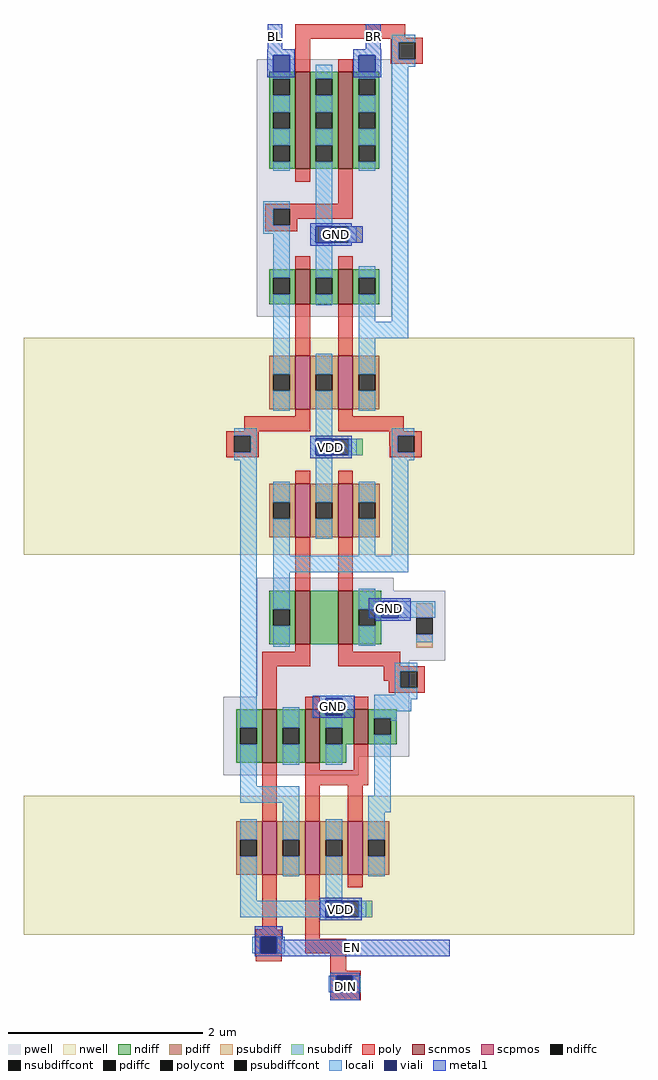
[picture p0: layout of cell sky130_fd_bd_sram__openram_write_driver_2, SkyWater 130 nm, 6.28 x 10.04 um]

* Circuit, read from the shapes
.subckt sky130_fd_bd_sram__openram_write_driver_2 BL BR DIN EN GND VDD din bl br en vdd gnd
XM1 n1 EN n2 GND sky130_fd_pr__nfet_01v8 w=0.55 l=0.15
XM2 n3 EN n4 GND sky130_fd_pr__nfet_01v8 w=0.55 l=0.15
XM3 GND n2 n5 GND sky130_fd_pr__nfet_01v8 w=0.36 l=0.15
XM4 GND n6 BL GND sky130_fd_pr__nfet_01v8 w=1 l=0.15
XM5 GND DIN n1 GND sky130_fd_pr__nfet_01v8 w=0.55 l=0.15
XM6 GND n7 n3 GND sky130_fd_pr__nfet_01v8 w=0.55 l=0.15
XM7 n6 n4 GND GND sky130_fd_pr__nfet_01v8 w=0.36 l=0.15
XM8 BR n5 GND GND sky130_fd_pr__nfet_01v8 w=1 l=0.15
XM9 n7 DIN GND GND sky130_fd_pr__nfet_01v8 w=0.36 l=0.15
XM10 n2 EN VDD VDD sky130_fd_pr__pfet_01v8 w=0.55 l=0.15
XM11 VDD EN n4 VDD sky130_fd_pr__pfet_01v8 w=0.55 l=0.15
XM12 VDD n2 n5 VDD sky130_fd_pr__pfet_01v8 w=0.55 l=0.15
XM13 VDD DIN n2 VDD sky130_fd_pr__pfet_01v8 w=0.55 l=0.15
XM14 n4 n7 VDD VDD sky130_fd_pr__pfet_01v8 w=0.55 l=0.15
XM15 n6 n4 VDD VDD sky130_fd_pr__pfet_01v8 w=0.55 l=0.15
XM16 n7 DIN VDD VDD sky130_fd_pr__pfet_01v8 w=0.55 l=0.15
.ends

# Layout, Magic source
magic
tech sky130A
magscale 1 2
<< nwell >>
rect -376 920 880 1366
rect -376 138 880 424
<< pwell >>
rect 103 1409 381 1939
rect 103 846 385 872
rect 103 702 491 846
rect 103 628 417 702
rect 35 504 417 628
rect 35 466 313 504
<< scnmos >>
rect 183 1713 213 1913
rect 271 1713 301 1913
rect 183 1435 213 1507
rect 271 1435 301 1507
rect 183 736 213 846
rect 271 736 301 846
rect 115 492 145 602
rect 203 492 233 602
rect 303 530 333 602
<< scpmos >>
rect 183 1219 213 1329
rect 271 1219 301 1329
rect 183 956 213 1066
rect 271 956 301 1066
rect 115 262 145 372
rect 203 262 233 372
rect 291 262 321 372
<< ndiff >>
rect 129 1898 183 1913
rect 129 1864 137 1898
rect 171 1864 183 1898
rect 129 1830 183 1864
rect 129 1796 137 1830
rect 171 1796 183 1830
rect 129 1762 183 1796
rect 129 1728 137 1762
rect 171 1728 183 1762
rect 129 1713 183 1728
rect 213 1898 271 1913
rect 213 1864 225 1898
rect 259 1864 271 1898
rect 213 1830 271 1864
rect 213 1796 225 1830
rect 259 1796 271 1830
rect 213 1762 271 1796
rect 213 1728 225 1762
rect 259 1728 271 1762
rect 213 1713 271 1728
rect 301 1898 355 1913
rect 301 1864 313 1898
rect 347 1864 355 1898
rect 301 1830 355 1864
rect 301 1796 313 1830
rect 347 1796 355 1830
rect 301 1762 355 1796
rect 301 1728 313 1762
rect 347 1728 355 1762
rect 301 1713 355 1728
rect 129 1489 183 1507
rect 129 1455 137 1489
rect 171 1455 183 1489
rect 129 1435 183 1455
rect 213 1489 271 1507
rect 213 1455 225 1489
rect 259 1455 271 1489
rect 213 1435 271 1455
rect 301 1489 355 1507
rect 301 1455 313 1489
rect 347 1455 355 1489
rect 301 1435 355 1455
rect 129 808 183 846
rect 129 774 137 808
rect 171 774 183 808
rect 129 736 183 774
rect 213 736 271 846
rect 301 808 359 846
rect 301 774 313 808
rect 347 774 359 808
rect 301 736 359 774
rect 61 564 115 602
rect 61 530 69 564
rect 103 530 115 564
rect 61 492 115 530
rect 145 564 203 602
rect 145 530 157 564
rect 191 530 203 564
rect 145 492 203 530
rect 233 564 303 602
rect 233 530 245 564
rect 279 530 303 564
rect 333 583 391 602
rect 333 549 345 583
rect 379 549 391 583
rect 333 530 391 549
rect 233 492 287 530
<< pdiff >>
rect 129 1291 183 1329
rect 129 1257 137 1291
rect 171 1257 183 1291
rect 129 1219 183 1257
rect 213 1291 271 1329
rect 213 1257 225 1291
rect 259 1257 271 1291
rect 213 1219 271 1257
rect 301 1291 355 1329
rect 301 1257 313 1291
rect 347 1257 355 1291
rect 301 1219 355 1257
rect 129 1028 183 1066
rect 129 994 137 1028
rect 171 994 183 1028
rect 129 956 183 994
rect 213 1028 271 1066
rect 213 994 225 1028
rect 259 994 271 1028
rect 213 956 271 994
rect 301 1028 356 1066
rect 301 994 313 1028
rect 347 994 356 1028
rect 301 956 356 994
rect 61 334 115 372
rect 61 300 69 334
rect 103 300 115 334
rect 61 262 115 300
rect 145 334 203 372
rect 145 300 157 334
rect 191 300 203 334
rect 145 262 203 300
rect 233 334 291 372
rect 233 300 245 334
rect 279 300 291 334
rect 233 262 291 300
rect 321 334 376 372
rect 321 300 333 334
rect 367 300 376 334
rect 321 262 376 300
<< ndiffc >>
rect 137 1864 171 1898
rect 137 1796 171 1830
rect 137 1728 171 1762
rect 225 1864 259 1898
rect 225 1796 259 1830
rect 225 1728 259 1762
rect 313 1864 347 1898
rect 313 1796 347 1830
rect 313 1728 347 1762
rect 137 1455 171 1489
rect 225 1455 259 1489
rect 313 1455 347 1489
rect 137 774 171 808
rect 313 774 347 808
rect 69 530 103 564
rect 157 530 191 564
rect 245 530 279 564
rect 345 549 379 583
<< pdiffc >>
rect 137 1257 171 1291
rect 225 1257 259 1291
rect 313 1257 347 1291
rect 137 994 171 1028
rect 225 994 259 1028
rect 313 994 347 1028
rect 69 300 103 334
rect 157 300 191 334
rect 245 300 279 334
rect 333 300 367 334
<< psubdiff >>
rect 229 1561 259 1595
rect 293 1561 321 1595
rect 431 790 465 820
rect 431 728 465 756
<< nsubdiff >>
rect 225 1124 259 1158
rect 293 1124 321 1158
rect 249 174 279 208
rect 313 174 341 208
<< psubdiffcont >>
rect 259 1561 293 1595
rect 431 756 465 790
<< nsubdiffcont >>
rect 259 1124 293 1158
rect 279 174 313 208
<< poly >>
rect 183 1983 409 2011
rect 183 1981 445 1983
rect 183 1913 213 1981
rect 379 1973 445 1981
rect 379 1939 395 1973
rect 429 1939 445 1973
rect 271 1913 301 1939
rect 379 1929 445 1939
rect 183 1687 213 1713
rect 271 1641 301 1713
rect 121 1631 301 1641
rect 121 1597 137 1631
rect 171 1611 301 1631
rect 171 1597 187 1611
rect 121 1585 187 1597
rect 183 1507 213 1533
rect 271 1507 301 1533
rect 183 1329 213 1435
rect 271 1329 301 1435
rect 183 1204 213 1219
rect 78 1174 213 1204
rect 271 1204 301 1219
rect 271 1174 406 1204
rect 41 1164 108 1174
rect 41 1130 57 1164
rect 91 1130 108 1164
rect 376 1164 443 1174
rect 41 1120 108 1130
rect 376 1144 393 1164
rect 377 1130 393 1144
rect 427 1130 443 1164
rect 377 1120 443 1130
rect 183 1066 213 1092
rect 271 1066 301 1092
rect 183 846 213 956
rect 271 846 301 956
rect 183 720 213 736
rect 115 690 213 720
rect 271 720 301 736
rect 271 690 399 720
rect 115 602 145 690
rect 365 680 449 690
rect 365 660 399 680
rect 375 646 399 660
rect 433 646 449 680
rect 375 636 449 646
rect 203 602 233 628
rect 303 602 333 628
rect 115 372 145 492
rect 203 476 233 492
rect 303 476 333 530
rect 203 446 333 476
rect 203 372 233 446
rect 291 372 321 446
rect 115 150 145 262
rect 101 148 145 150
rect 101 134 155 148
rect 101 100 111 134
rect 145 100 155 134
rect 203 130 233 262
rect 291 236 321 262
rect 203 100 287 130
rect 101 84 155 100
rect 255 64 287 100
rect 255 54 317 64
rect 255 20 267 54
rect 301 20 317 54
rect 255 4 317 20
<< polycont >>
rect 395 1939 429 1973
rect 137 1597 171 1631
rect 57 1130 91 1164
rect 393 1130 427 1164
rect 399 646 433 680
rect 111 100 145 134
rect 267 20 301 54
<< locali >>
rect 381 1973 429 1989
rect 137 1898 171 1913
rect 137 1830 171 1864
rect 137 1762 171 1796
rect 137 1709 171 1728
rect 225 1898 259 1927
rect 225 1830 259 1864
rect 225 1762 259 1796
rect 117 1631 171 1647
rect 117 1597 137 1631
rect 117 1580 171 1597
rect 137 1489 171 1580
rect 137 1291 171 1455
rect 225 1595 259 1728
rect 313 1898 347 1913
rect 313 1830 347 1864
rect 313 1762 347 1796
rect 313 1709 347 1728
rect 381 1939 395 1973
rect 381 1923 429 1939
rect 293 1561 309 1595
rect 225 1489 259 1561
rect 225 1433 259 1455
rect 313 1489 347 1513
rect 313 1399 347 1455
rect 381 1399 415 1923
rect 313 1365 415 1399
rect 137 1216 171 1257
rect 225 1291 259 1333
rect 57 1164 103 1180
rect 91 1130 103 1164
rect 57 1114 103 1130
rect 69 564 103 1114
rect 225 1158 259 1257
rect 313 1291 347 1365
rect 313 1216 347 1257
rect 381 1164 427 1180
rect 293 1124 309 1158
rect 381 1130 393 1164
rect 137 1028 171 1070
rect 137 918 171 994
rect 225 1028 259 1124
rect 381 1114 427 1130
rect 225 952 259 994
rect 313 1028 347 1070
rect 313 918 347 994
rect 381 918 415 1114
rect 137 884 415 918
rect 137 808 171 884
rect 137 730 171 774
rect 313 824 347 850
rect 313 808 360 824
rect 347 790 360 808
rect 394 790 471 824
rect 313 732 347 774
rect 431 740 465 756
rect 387 680 433 698
rect 387 646 399 680
rect 387 632 433 646
rect 69 444 103 530
rect 157 564 191 606
rect 157 488 191 530
rect 245 564 279 590
rect 245 488 279 530
rect 345 622 433 632
rect 345 598 421 622
rect 345 583 391 598
rect 379 578 391 583
rect 69 410 191 444
rect 345 424 379 549
rect 69 334 103 376
rect 69 208 103 300
rect 157 334 191 410
rect 333 390 379 424
rect 157 258 191 300
rect 245 334 279 376
rect 245 208 279 300
rect 333 334 367 390
rect 333 258 367 300
rect 69 174 245 208
rect 313 174 329 208
rect 245 168 279 174
rect 94 100 111 134
rect 145 100 161 134
rect 251 20 267 54
rect 301 20 317 54
<< viali >>
rect 137 1913 171 1947
rect 313 1913 347 1947
rect 225 1561 259 1595
rect 225 1124 259 1158
rect 360 790 394 824
rect 245 590 279 624
rect 245 174 279 208
rect 111 100 145 134
rect 267 20 301 54
<< metal1 >>
rect 126 1959 156 2011
rect 328 1959 358 2011
rect 125 1947 182 1959
rect 125 1913 137 1947
rect 171 1913 182 1947
rect 125 1901 182 1913
rect 302 1947 359 1959
rect 302 1913 313 1947
rect 347 1913 359 1947
rect 302 1901 359 1913
rect 213 1595 299 1601
rect 213 1561 225 1595
rect 259 1561 321 1595
rect 213 1555 299 1561
rect 213 1158 299 1164
rect 213 1124 225 1158
rect 259 1124 299 1158
rect 213 1118 299 1124
rect 334 824 420 830
rect 334 790 360 824
rect 394 790 420 824
rect 334 789 420 790
rect 347 784 420 789
rect 219 624 305 630
rect 219 590 245 624
rect 279 590 305 624
rect 219 584 305 590
rect 233 208 319 214
rect 233 174 245 208
rect 279 174 319 208
rect 233 168 319 174
rect 99 134 157 156
rect 99 100 111 134
rect 145 128 157 134
rect 145 100 500 128
rect 99 94 500 100
rect 255 54 315 60
rect 255 20 267 54
rect 301 20 315 54
rect 255 4 315 20
<< labels >>
rlabel metal1 s 126 1959 156 2011 4 BL
port 1 nsew
rlabel metal1 s 328 1959 358 2011 4 BR
port 2 nsew
rlabel metal1 s 255 4 315 60 4 DIN
port 3 nsew
rlabel metal1 s 99 94 500 128 4 EN
port 4 nsew
rlabel metal1 s 219 584 305 630 4 GND
port 5 nsew
rlabel metal1 s 334 789 420 830 4 GND
port 5 nsew
rlabel metal1 s 213 1561 321 1595 4 GND
port 5 nsew
rlabel metal1 s 233 168 319 214 4 VDD
port 6 nsew
rlabel metal1 s 213 1118 299 1164 4 VDD
port 6 nsew
rlabel metal1 s 285 32 285 32 4 din
port 7 nsew
rlabel metal1 s 141 1985 141 1985 4 bl
port 8 nsew
rlabel metal1 s 343 1985 343 1985 4 br
port 9 nsew
rlabel metal1 s 299 111 299 111 4 en
port 10 nsew
rlabel metal1 s 276 191 276 191 4 vdd
port 11 nsew
rlabel metal1 s 256 1141 256 1141 4 vdd
port 11 nsew
rlabel metal1 s 262 607 262 607 4 gnd
port 12 nsew
rlabel metal1 s 377 809 377 809 4 gnd
port 12 nsew
rlabel metal1 s 267 1578 267 1578 4 gnd
port 12 nsew
<< properties >>
string FIXED_BBOX 0 0 500 2011
string GDS_FILE $PDKPATH/libs.ref/sky130_sram_macros/gds/sky130_sram_1kbyte_1rw1r_8x1024_8.gds
string GDS_END 205720
string GDS_START 192676
<< end >>
